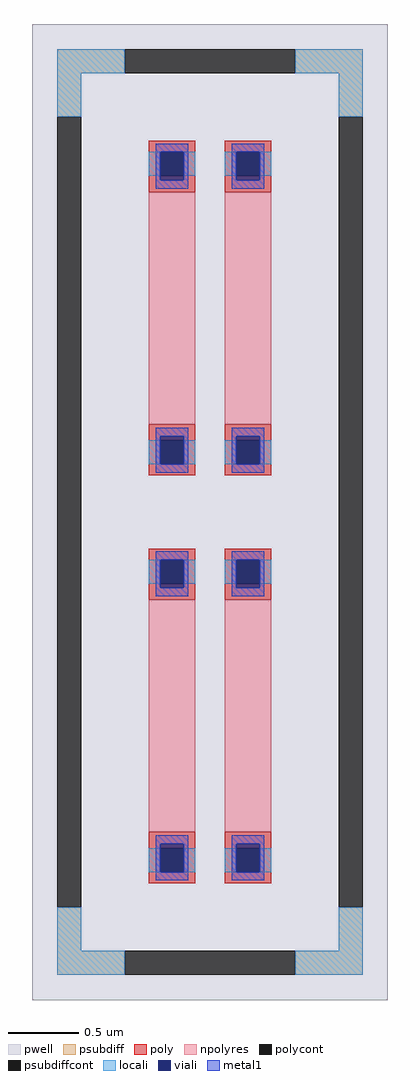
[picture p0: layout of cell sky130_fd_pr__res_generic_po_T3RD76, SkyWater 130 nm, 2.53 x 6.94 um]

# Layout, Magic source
magic
tech sky130A
magscale 1 2
<< pwell >>
rect -253 -694 253 694
<< psubdiff >>
rect -217 624 -121 658
rect 121 624 217 658
rect -217 562 -183 624
rect 183 562 217 624
rect -217 -624 -183 -562
rect 183 -624 217 -562
rect -217 -658 -121 -624
rect 121 -658 217 -624
<< psubdiffcont >>
rect -121 624 121 658
rect -217 -562 -183 562
rect 183 -562 217 562
rect -121 -658 121 -624
<< poly >>
rect -87 512 -21 528
rect -87 478 -71 512
rect -37 478 -21 512
rect -87 455 -21 478
rect -87 102 -21 125
rect -87 68 -71 102
rect -37 68 -21 102
rect -87 52 -21 68
rect 21 512 87 528
rect 21 478 37 512
rect 71 478 87 512
rect 21 455 87 478
rect 21 102 87 125
rect 21 68 37 102
rect 71 68 87 102
rect 21 52 87 68
rect -87 -68 -21 -52
rect -87 -102 -71 -68
rect -37 -102 -21 -68
rect -87 -125 -21 -102
rect -87 -478 -21 -455
rect -87 -512 -71 -478
rect -37 -512 -21 -478
rect -87 -528 -21 -512
rect 21 -68 87 -52
rect 21 -102 37 -68
rect 71 -102 87 -68
rect 21 -125 87 -102
rect 21 -478 87 -455
rect 21 -512 37 -478
rect 71 -512 87 -478
rect 21 -528 87 -512
<< polycont >>
rect -71 478 -37 512
rect -71 68 -37 102
rect 37 478 71 512
rect 37 68 71 102
rect -71 -102 -37 -68
rect -71 -512 -37 -478
rect 37 -102 71 -68
rect 37 -512 71 -478
<< npolyres >>
rect -87 125 -21 455
rect 21 125 87 455
rect -87 -455 -21 -125
rect 21 -455 87 -125
<< locali >>
rect -217 624 -121 658
rect 121 624 217 658
rect -217 562 -183 624
rect 183 562 217 624
rect -87 478 -71 512
rect -37 478 -21 512
rect 21 478 37 512
rect 71 478 87 512
rect -87 68 -71 102
rect -37 68 -21 102
rect 21 68 37 102
rect 71 68 87 102
rect -87 -102 -71 -68
rect -37 -102 -21 -68
rect 21 -102 37 -68
rect 71 -102 87 -68
rect -87 -512 -71 -478
rect -37 -512 -21 -478
rect 21 -512 37 -478
rect 71 -512 87 -478
rect -217 -624 -183 -562
rect 183 -624 217 -562
rect -217 -658 -121 -624
rect 121 -658 217 -624
<< viali >>
rect -71 478 -37 512
rect 37 478 71 512
rect -71 472 -37 478
rect 37 472 71 478
rect -71 102 -37 108
rect 37 102 71 108
rect -71 68 -37 102
rect 37 68 71 102
rect -71 -102 -37 -68
rect 37 -102 71 -68
rect -71 -108 -37 -102
rect 37 -108 71 -102
rect -71 -478 -37 -472
rect 37 -478 71 -472
rect -71 -512 -37 -478
rect 37 -512 71 -478
<< metal1 >>
rect -77 512 -31 524
rect -77 472 -71 512
rect -37 472 -31 512
rect -77 460 -31 472
rect 31 512 77 524
rect 31 472 37 512
rect 71 472 77 512
rect 31 460 77 472
rect -77 108 -31 120
rect -77 68 -71 108
rect -37 68 -31 108
rect -77 56 -31 68
rect 31 108 77 120
rect 31 68 37 108
rect 71 68 77 108
rect 31 56 77 68
rect -77 -68 -31 -56
rect -77 -108 -71 -68
rect -37 -108 -31 -68
rect -77 -120 -31 -108
rect 31 -68 77 -56
rect 31 -108 37 -68
rect 71 -108 77 -68
rect 31 -120 77 -108
rect -77 -472 -31 -460
rect -77 -512 -71 -472
rect -37 -512 -31 -472
rect -77 -524 -31 -512
rect 31 -472 77 -460
rect 31 -512 37 -472
rect 71 -512 77 -472
rect 31 -524 77 -512
<< properties >>
string FIXED_BBOX -200 -641 200 641
string gencell sky130_fd_pr__res_generic_po
string library sky130
string parameters w 0.330 l 1.650 m 2 nx 2 wmin 0.330 lmin 1.650 rho 48.2 val 241.0 dummy 0 dw 0.0 term 0.0 sterm 0.0 caplen 0.4 snake 0 guard 1 glc 1 grc 1 gtc 1 gbc 1 roverlap 0 endcov 100 full_metal 1 hv_guard 0 n_guard 0 vias 1 viagb 0 viagt 0 viagl 0 viagr 0
<< end >>
